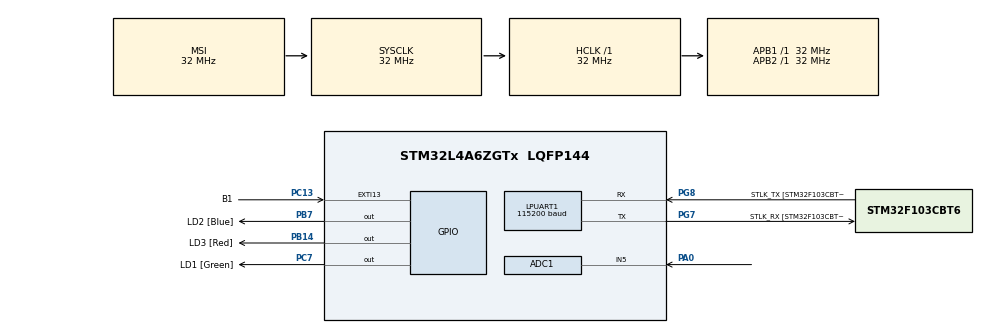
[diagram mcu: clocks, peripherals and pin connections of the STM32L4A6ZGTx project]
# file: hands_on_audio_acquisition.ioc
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ADC1.Channel-0\#ChannelRegularConversion=ADC_CHANNEL_5
ADC1.ExternalTrigConv=ADC_EXTERNALTRIG_T3_TRGO
ADC1.NbrOfConversionFlag=1
ADC1.OffsetNumber-0\#ChannelRegularConversion=ADC_OFFSET_NONE
ADC1.Rank-0\#ChannelRegularConversion=1
ADC1.SamplingTime-0\#ChannelRegularConversion=ADC_SAMPLETIME_2CYCLES_5
ADC1.master=1
Dma.ADC1.0.Direction=DMA_PERIPH_TO_MEMORY
Dma.ADC1.0.Instance=DMA1_Channel1
Dma.ADC1.0.MemDataAlignment=DMA_MDATAALIGN_HALFWORD
Dma.ADC1.0.MemInc=DMA_MINC_ENABLE
Dma.ADC1.0.Mode=DMA_NORMAL
Dma.ADC1.0.PeriphDataAlignment=DMA_PDATAALIGN_HALFWORD
Dma.ADC1.0.PeriphInc=DMA_PINC_DISABLE
Dma.ADC1.0.Priority=DMA_PRIORITY_LOW
Dma.Request0=ADC1
LPUART1.AutoBaudRateEnableParam=UART_ADVFEATURE_AUTOBAUDRATE_DISABLE
LPUART1.BaudRate=115200
LPUART1.DMADisableonRxErrorParam=UART_ADVFEATURE_DMA_ENABLEONRXERROR
LPUART1.DataInvertParam=UART_ADVFEATURE_DATAINV_DISABLE
LPUART1.MSBFirstParam=UART_ADVFEATURE_MSBFIRST_DISABLE
LPUART1.Mode=UART_MODE_TX_RX
LPUART1.OneBitSampling=UART_ONE_BIT_SAMPLE_DISABLE
LPUART1.OverrunDisableParam=UART_ADVFEATURE_OVERRUN_ENABLE
LPUART1.Parity=UART_PARITY_NONE
LPUART1.RxPinLevelInvertParam=UART_ADVFEATURE_RXINV_DISABLE
LPUART1.StopBits=UART_STOPBITS_1
LPUART1.SwapParam=UART_ADVFEATURE_SWAP_DISABLE
LPUART1.TxPinLevelInvertParam=UART_ADVFEATURE_TXINV_DISABLE
LPUART1.WordLength=UART_WORDLENGTH_8B
Mcu.Family=STM32L4
Mcu.Name=STM32L4A6ZGTx
Mcu.Package=LQFP144
NVIC.DMA1_Channel1_IRQn=true\:0\:0\:false\:false\:true\:false\:true\:true
NVIC.EXTI15_10_IRQn=true\:0\:0\:false\:false\:true\:true\:true\:true
NVIC.PriorityGroup=NVIC_PRIORITYGROUP_4
PA0.Signal=ADCx_IN5
PA13\ (JTMS/SWDIO).GPIO_Label=TMS
PA13\ (JTMS/SWDIO).Mode=Trace_Asynchronous_SW
PA13\ (JTMS/SWDIO).Signal=SYS_JTMS-SWDIO
PA14\ (JTCK/SWCLK).GPIO_Label=TCK
PA14\ (JTCK/SWCLK).Mode=Trace_Asynchronous_SW
PA14\ (JTCK/SWCLK).Signal=SYS_JTCK-SWCLK
PB14.GPIO_Label=LD3 [Red]
PB14.Signal=GPIO_Output
PB3\ (JTDO/TRACESWO).GPIO_Label=SWO
PB3\ (JTDO/TRACESWO).Mode=Trace_Asynchronous_SW
PB3\ (JTDO/TRACESWO).Signal=SYS_JTDO-SWO
PB7.GPIO_Label=LD2 [Blue]
PB7.Signal=GPIO_Output
PC13.GPIO_Label=B1
PC13.Signal=GPXTI13
PC14-OSC32_IN\ (PC14).Mode=LSE-External-Oscillator
PC14-OSC32_IN\ (PC14).Signal=RCC_OSC32_IN
PC15-OSC32_OUT\ (PC15).Mode=LSE-External-Oscillator
PC15-OSC32_OUT\ (PC15).Signal=RCC_OSC32_OUT
PC7.GPIO_Label=LD1 [Green]
PC7.Signal=GPIO_Output
PG7.GPIO_Label=STLK_RX [STM32F103CBT6_PA3]
PG7.Mode=Asynchronous
PG7.Signal=LPUART1_TX
PG8.GPIO_Label=STLK_TX [STM32F103CBT6_PA2]
PG8.Mode=Asynchronous
PG8.Signal=LPUART1_RX
PH1-OSC_OUT\ (PH1).Signal=RCC_OSC_OUT
ProjectManager.HeapSize=0x200
ProjectManager.StackSize=0x400
ProjectManager.TargetToolchain=STM32CubeIDE
RCC.ADCCLockSelection=RCC_ADCCLKSOURCE_SYSCLK
RCC.ADCFreq_Value=32000000
RCC.AHBFreq_Value=32000000
RCC.APB1Freq_Value=32000000
RCC.APB1TimFreq_Value=32000000
RCC.APB2Freq_Value=32000000
RCC.APB2TimFreq_Value=32000000
RCC.CortexFreq_Value=32000000
RCC.FLatency=FLASH_LATENCY_1
RCC.HCLKFreq_Value=32000000
RCC.HSE_VALUE=8000000
RCC.HSI48_VALUE=48000000
RCC.HSI_VALUE=16000000
RCC.MSIClockRange=RCC_MSIRANGE_10
RCC.MSI_VALUE=32000000
RCC.PLLN=71
RCC.PLLR=RCC_PLLR_DIV6
RCC.PLLSAI1N=24
RCC.SYSCLKFreq_VALUE=32000000
RCC.USBFreq_Value=384000000
RCC.VCOOutputFreq_Value=2272000000
SH.ADCx_IN5.0=ADC1_IN5,IN5-Single-Ended
TIM3.Period=195
TIM3.Prescaler=15
TIM3.TIM_MasterOutputTrigger=TIM_TRGO_UPDATE
VP_TIM3_VS_ClockSourceINT.Mode=Internal
board=NUCLEO-L4A6ZG

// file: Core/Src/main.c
/* USER CODE BEGIN Header */
/**
 ******************************************************************************
 * @file           : main.c
 * @brief          : Main program body
 ******************************************************************************
 * @attention
 *
 * <h2><center>&copy; Copyright (c) 2021 STMicroelectronics.
 * All rights reserved.</center></h2>
 *
 * This software component is licensed by ST under BSD 3-Clause license,
 * the "License"; You may not use this file except in compliance with the
 * License. You may obtain a copy of the License at:
 *                        opensource.org/licenses/BSD-3-Clause
 *
 ******************************************************************************
 */
/* USER CODE END Header */
#include "main.h"
#include "adc.h"
#include "dma.h"
#include "gpio.h"
#include "tim.h"
#include "usart.h"

/* USER CODE BEGIN Includes */
#include "retarget.h"
#include <stdio.h>
/* USER CODE END Includes */

/* USER CODE BEGIN PD */
#define ADC_BUF_SIZE 8192
/* USER CODE END PD */

/* USER CODE BEGIN PV */
volatile int state;
volatile uint16_t ADCBuffer[2 * ADC_BUF_SIZE]; /* ADC group regular conversion data (array of data) */
volatile uint16_t* ADCData1;
volatile uint16_t* ADCData2;

char hex_encoded_buffer[4 * ADC_BUF_SIZE + 1];
/* USER CODE END PV */

void SystemClock_Config(void);
/* USER CODE BEGIN PFP */
void hex_encode(char* s, const uint8_t* buf, size_t len);
void print_buffer(uint16_t* buffer);
uint32_t get_signal_power(uint16_t* buffer, size_t len);
/* USER CODE END PFP */

/* USER CODE BEGIN 0 */
void HAL_GPIO_EXTI_Callback(uint16_t GPIO_Pin)
{
    if (GPIO_Pin == B1_Pin)
    {
        state = 1 - state;
        printf("Btn pressed\r\n");
        HAL_TIM_Base_Start(&htim3);
        HAL_ADC_Start_DMA(&hadc1, (uint32_t*)ADCBuffer, ADC_BUF_SIZE);
    }
}

static void ADC_Callback()
{
    HAL_ADC_Stop_DMA(&hadc1);
    print_buffer(ADCData1);
}

void HAL_ADC_ConvCpltCallback(ADC_HandleTypeDef* hadc)
{
    ADC_Callback(1);
}

void hex_encode(char* s, const uint8_t* buf, size_t len)
{
    s[2 * len] = '\0'; // A string terminated by a zero char.
    for (size_t i = 0; i < len; i++)
    {
        s[i * 2] = "0123456789abcdef"[buf[i] >> 4];
        s[i * 2 + 1] = "0123456789abcdef"[buf[i] & 0xF];
    }
}

void print_buffer(uint16_t* buffer)
{
    hex_encode(hex_encoded_buffer, (uint8_t*)buffer, 2 * ADC_BUF_SIZE);
    printf("SND:HEX:%s\r\n", hex_encoded_buffer);
}

uint32_t get_signal_power(uint16_t* buffer, size_t len)
{
    uint64_t sum = 0;
    uint64_t sum2 = 0;
    for (size_t i = 0; i < len; i++)
    {
        sum += (uint64_t)buffer[i];
        sum2 += (uint64_t)buffer[i] * (uint64_t)buffer[i];
    }
    return (uint32_t)(sum2 / len - sum * sum / len / len);
}
/* USER CODE END 0 */

int main(void)
{

    /* MCU Configuration--------------------------------------------------------*/

    /* Reset of all peripherals, Initializes the Flash interface and the Systick. */
    HAL_Init();

    /* Configure the system clock */
    SystemClock_Config();

    /* Initialize all configured peripherals */
    MX_GPIO_Init();
    MX_DMA_Init();
    MX_LPUART1_UART_Init();
    MX_ADC1_Init();
    MX_TIM3_Init();
    /* USER CODE BEGIN 2 */
    RetargetInit(&hlpuart1);
    printf("Hello world!\r\n");
    state = 0;
    ADCData1 = &ADCBuffer[0];
    ADCData2 = &ADCBuffer[ADC_BUF_SIZE];
    /* USER CODE END 2 */

    /* Infinite loop */
    /* USER CODE BEGIN WHILE */
    while (1)
    {
        //        HAL_ADC_Start(&hadc1);
        //        HAL_ADC_PollForConversion(&hadc1, 0xFFFF);
        //        HAL_ADC_GetValue(&hadc1);
        //        HAL_ADC_Stop(&hadc1);

        HAL_GPIO_WritePin(LD2_GPIO_Port, LD2_Pin, GPIO_PIN_SET);
        HAL_Delay(500);
        HAL_GPIO_WritePin(LD2_GPIO_Port, LD2_Pin, GPIO_PIN_RESET);
        HAL_Delay(500);
        /* USER CODE END WHILE */

    }
}

void SystemClock_Config(void)
{
    RCC_OscInitTypeDef RCC_OscInitStruct = {0};
    RCC_ClkInitTypeDef RCC_ClkInitStruct = {0};

    /** Configure the main internal regulator output voltage
     */
    if (HAL_PWREx_ControlVoltageScaling(PWR_REGULATOR_VOLTAGE_SCALE1) != HAL_OK)
    {
        Error_Handler();
    }

    /** Initializes the RCC Oscillators according to the specified parameters
     * in the RCC_OscInitTypeDef structure.
     */
    RCC_OscInitStruct.OscillatorType = RCC_OSCILLATORTYPE_MSI;
    RCC_OscInitStruct.MSIState = RCC_MSI_ON;
    RCC_OscInitStruct.MSICalibrationValue = 0;
    RCC_OscInitStruct.MSIClockRange = RCC_MSIRANGE_10;
    RCC_OscInitStruct.PLL.PLLState = RCC_PLL_NONE;
    if (HAL_RCC_OscConfig(&RCC_OscInitStruct) != HAL_OK)
    {
        Error_Handler();
    }

    /** Initializes the CPU, AHB and APB buses clocks
     */
    RCC_ClkInitStruct.ClockType = RCC_CLOCKTYPE_HCLK | RCC_CLOCKTYPE_SYSCLK | RCC_CLOCKTYPE_PCLK1 | RCC_CLOCKTYPE_PCLK2;
    RCC_ClkInitStruct.SYSCLKSource = RCC_SYSCLKSOURCE_MSI;
    RCC_ClkInitStruct.AHBCLKDivider = RCC_SYSCLK_DIV1;
    RCC_ClkInitStruct.APB1CLKDivider = RCC_HCLK_DIV1;
    RCC_ClkInitStruct.APB2CLKDivider = RCC_HCLK_DIV1;

    if (HAL_RCC_ClockConfig(&RCC_ClkInitStruct, FLASH_LATENCY_1) != HAL_OK)
    {
        Error_Handler();
    }
}

void Error_Handler(void)
{
    __disable_irq();
    while (1)
    {
    }
}
